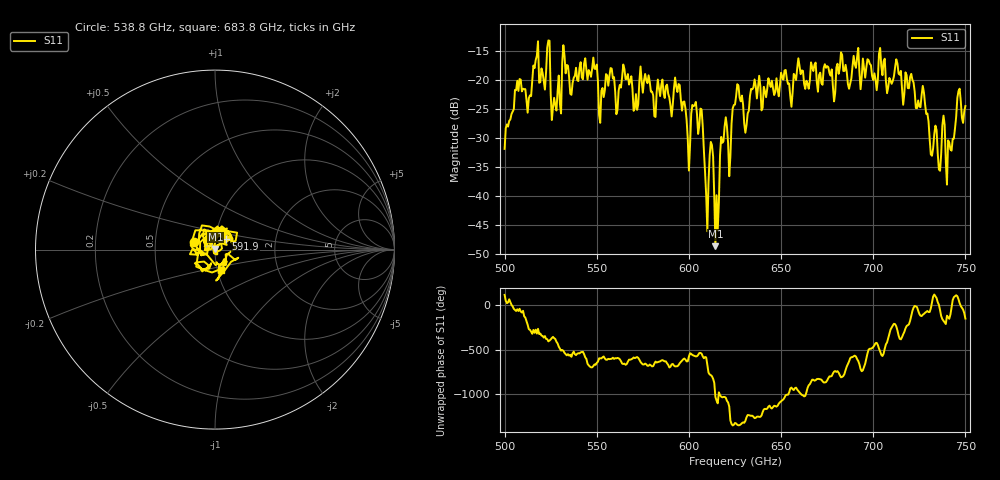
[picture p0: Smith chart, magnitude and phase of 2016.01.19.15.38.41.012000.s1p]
!Created with skrf (http://scikit-rf.org).
# GHz S RI R 50.0
!freq ReS11 ImS11
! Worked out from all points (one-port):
!   401 points, 500 GHz to 750 GHz, reference 50 ohm
!   lowest |S11| = -48.7 dB at 614.4 GHz (marker M1), VSWR 1.01, Z = 50.2 + j0.285 ohm
!   |S11| at or under -10 dB: start of sweep to end of sweep
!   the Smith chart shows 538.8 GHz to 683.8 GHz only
!   S11 on the Smith chart (normalised r, x): 538.8 GHz: 0.78, +0.07; 591.9 GHz: 1.12, +0.13; 683.8 GHz: 1.04, -0.24
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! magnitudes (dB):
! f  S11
! 500 GHz  -31.9
! 507.5 GHz  -21.9
! 513.1 GHz  -23.2
! 516.9 GHz  -16.6
! 523.8 GHz  -13.2
! 526.9 GHz  -23.1
! 531.2 GHz  -17.1
! 538.8 GHz  -17.9
! 562.5 GHz  -20.9
! 591.9 GHz  -21.5
! 593.8 GHz  -22.1
! 599.4 GHz  -30.2
! 602.5 GHz  -24.6
! 606.9 GHz  -25.1
! 609.4 GHz  -40.0
! 611.9 GHz  -30.7
! 614.4 GHz  -48.7
! 618.8 GHz  -30.6
! 621.9 GHz  -36.7
! 625 GHz  -24.3
! 631.2 GHz  -27.8
! 635 GHz  -21.3
! 656.2 GHz  -22.3
! 683.8 GHz  -18.5
! 687.5 GHz  -20.6
! 718.8 GHz  -21.4
! 735.6 GHz  -35.5
! 750 GHz  -24.5
